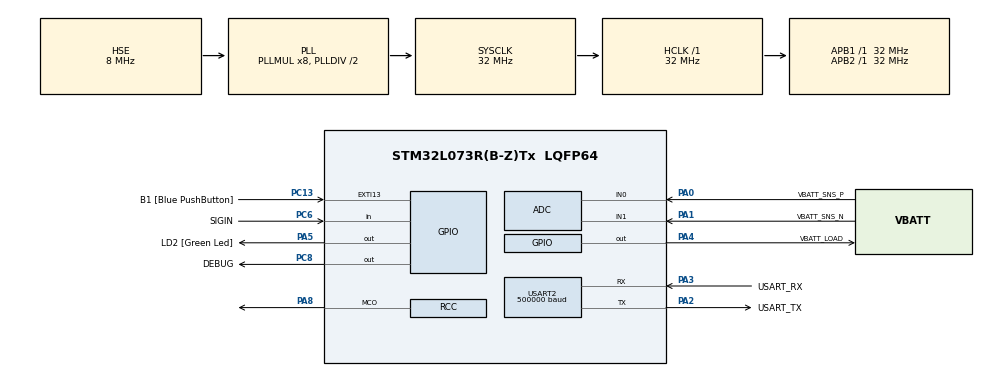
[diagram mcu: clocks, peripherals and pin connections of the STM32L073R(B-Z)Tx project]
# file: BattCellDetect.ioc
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ADC.ContinuousConvMode=DISABLE
ADC.DiscontinuousConvMode=ENABLE
ADC.EOCSelection=ADC_EOC_SINGLE_CONV
ADC.SamplingTime=ADC_SAMPLETIME_3CYCLES_5
Mcu.Family=STM32L0
Mcu.Name=STM32L073R(B-Z)Tx
Mcu.Package=LQFP64
PA0.GPIO_Label=VBATT_SNS_P
PA0.Mode=IN0
PA0.Signal=ADC_IN0
PA1.GPIO_Label=VBATT_SNS_N
PA1.Mode=IN1
PA1.Signal=ADC_IN1
PA13.GPIO_Label=TMS
PA13.Mode=Serial_Wire
PA13.Signal=SYS_SWDIO
PA14.GPIO_Label=TCK
PA14.Mode=Serial_Wire
PA14.Signal=SYS_SWCLK
PA2.GPIO_Label=USART_TX
PA2.Mode=Asynchronous
PA2.Signal=USART2_TX
PA3.GPIO_Label=USART_RX
PA3.Mode=Asynchronous
PA3.Signal=USART2_RX
PA4.GPIO_Label=VBATT_LOAD
PA4.Signal=GPIO_Output
PA5.GPIO_Label=LD2 [Green Led]
PA5.Signal=GPIO_Output
PA8.GPIO_Speed=GPIO_SPEED_FREQ_VERY_HIGH
PA8.Mode=Clock-out
PA8.Signal=RCC_MCO
PC13.GPIO_Label=B1 [Blue PushButton]
PC13.GPIO_ModeDefaultEXTI=GPIO_MODE_IT_FALLING
PC13.Signal=GPXTI13
PC14-OSC32_IN.Signal=RCC_OSC32_IN
PC15-OSC32_OUT.Signal=RCC_OSC32_OUT
PC6.GPIO_Label=SIGIN
PC6.Signal=GPIO_Input
PC8.GPIO_Label=DEBUG
PC8.Signal=GPIO_Output
PH0-OSC_IN.GPIO_Label=MCO
PH0-OSC_IN.Mode=HSE-External-Clock-Source
PH0-OSC_IN.Signal=RCC_OSC_IN
ProjectManager.HeapSize=0x200
ProjectManager.StackSize=0x400
ProjectManager.TargetToolchain=STM32CubeIDE
RCC.ADCFreq_Value=16000000
RCC.AHBFreq_Value=32000000
RCC.APB1Freq_Value=32000000
RCC.APB1TimFreq_Value=32000000
RCC.APB2Freq_Value=32000000
RCC.APB2TimFreq_Value=32000000
RCC.HCLKFreq_Value=32000000
RCC.HSE_VALUE=8000000
RCC.HSI16_VALUE=16000000
RCC.HSI48_VALUE=48000000
RCC.HSI_VALUE=16000000
RCC.LSE_VALUE=32768
RCC.MSI_VALUE=2097000
RCC.PLLMUL=RCC_PLLMUL_8
RCC.PLLSourceVirtual=RCC_PLLSOURCE_HSE
RCC.RCC_MCODiv=RCC_MCODIV_16
RCC.SYSCLKFreq_VALUE=32000000
RCC.SYSCLKSource=RCC_SYSCLKSOURCE_PLLCLK
RCC.VCOOutputFreq_Value=64000000
TIM21.AutoReloadPreload=TIM_AUTORELOAD_PRELOAD_ENABLE
TIM21.Channel-Output\ Compare1\ No\ Output=TIM_CHANNEL_1
TIM21.Prescaler=512
USART2.BaudRate=500000
USART2.VirtualMode-Asynchronous=VM_ASYNC
VP_TIM21_VS_ClockSourceINT.Mode=Internal
VP_TIM21_VS_no_output1.Mode=Output Compare1 No Output
board=NUCLEO-L073RZ

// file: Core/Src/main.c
/* USER CODE BEGIN Header */
/**
  ******************************************************************************
  * @file           : main.c
  * @brief          : Main program body
  ******************************************************************************
  * @attention
  *
  * Copyright (c) 2023 STMicroelectronics.
  * All rights reserved.
  *
  * This software is licensed under terms that can be found in the LICENSE file
  * in the root directory of this software component.
  * If no LICENSE file comes with this software, it is provided AS-IS.
  *
  ******************************************************************************
  */
/* USER CODE END Header */
#include "main.h"

/* USER CODE BEGIN Includes */
#include "myos.h"
#include "leds.h"
#include "buttons.h"
#include "debug.h"
#include "string.h"

/* USER CODE END Includes */

/* USER CODE BEGIN PM */

#if DEBUG_MAIN
#define DBG(...) DBG_FUNC(__VA_ARGS__)
#else
#define DBG(...)
#endif

/* USER CODE END PM */

ADC_HandleTypeDef hadc;

TIM_HandleTypeDef htim21;

UART_HandleTypeDef huart2;

void SystemClock_Config(void);
static void MX_GPIO_Init(void);
static void MX_USART2_UART_Init(void);
static void MX_ADC_Init(void);
static void MX_TIM21_Init(void);
/* USER CODE BEGIN PFP */
/* USER CODE BEGIN PFP */
int __io_putchar(int ch);
/* USER CODE END PFP */

/* USER CODE BEGIN 0 */

PROCESS(test,test);
PROCESS_THREAD(test)
{
   PROCESS_BEGIN();

   PROCESS_END();
}

/* USER CODE END 0 */

int main(void)
{

  /* MCU Configuration--------------------------------------------------------*/

  /* Reset of all peripherals, Initializes the Flash interface and the Systick. */
  HAL_Init();

  /* Configure the system clock */
  SystemClock_Config();

  /* Initialize all configured peripherals */
  MX_GPIO_Init();
  MX_USART2_UART_Init();
  MX_ADC_Init();
  MX_TIM21_Init();
  /* USER CODE BEGIN 2 */

  /* Perform an ADC automatic self-calibration */
  HAL_ADCEx_Calibration_Start(&hadc,ADC_SINGLE_ENDED);

  myos_init();
  leds_init();
  buttons_init();

  process_start(&test,NULL);

  /* USER CODE END 2 */

  /* Infinite loop */
  /* USER CODE BEGIN WHILE */
  while (1)
  {
     process_run();

    /* USER CODE END WHILE */

  }
}

void SystemClock_Config(void)
{
  RCC_OscInitTypeDef RCC_OscInitStruct = {0};
  RCC_ClkInitTypeDef RCC_ClkInitStruct = {0};
  RCC_PeriphCLKInitTypeDef PeriphClkInit = {0};

  /** Configure the main internal regulator output voltage
  */
  __HAL_PWR_VOLTAGESCALING_CONFIG(PWR_REGULATOR_VOLTAGE_SCALE1);

  /** Initializes the RCC Oscillators according to the specified parameters
  * in the RCC_OscInitTypeDef structure.
  */
  RCC_OscInitStruct.OscillatorType = RCC_OSCILLATORTYPE_HSE;
  RCC_OscInitStruct.HSEState = RCC_HSE_BYPASS;
  RCC_OscInitStruct.PLL.PLLState = RCC_PLL_ON;
  RCC_OscInitStruct.PLL.PLLSource = RCC_PLLSOURCE_HSE;
  RCC_OscInitStruct.PLL.PLLMUL = RCC_PLLMUL_8;
  RCC_OscInitStruct.PLL.PLLDIV = RCC_PLLDIV_2;
  if (HAL_RCC_OscConfig(&RCC_OscInitStruct) != HAL_OK)
  {
    Error_Handler();
  }

  /** Initializes the CPU, AHB and APB buses clocks
  */
  RCC_ClkInitStruct.ClockType = RCC_CLOCKTYPE_HCLK|RCC_CLOCKTYPE_SYSCLK
                              |RCC_CLOCKTYPE_PCLK1|RCC_CLOCKTYPE_PCLK2;
  RCC_ClkInitStruct.SYSCLKSource = RCC_SYSCLKSOURCE_PLLCLK;
  RCC_ClkInitStruct.AHBCLKDivider = RCC_SYSCLK_DIV1;
  RCC_ClkInitStruct.APB1CLKDivider = RCC_HCLK_DIV1;
  RCC_ClkInitStruct.APB2CLKDivider = RCC_HCLK_DIV1;

  if (HAL_RCC_ClockConfig(&RCC_ClkInitStruct, FLASH_LATENCY_1) != HAL_OK)
  {
    Error_Handler();
  }
  PeriphClkInit.PeriphClockSelection = RCC_PERIPHCLK_USART2;
  PeriphClkInit.Usart2ClockSelection = RCC_USART2CLKSOURCE_PCLK1;
  if (HAL_RCCEx_PeriphCLKConfig(&PeriphClkInit) != HAL_OK)
  {
    Error_Handler();
  }
  HAL_RCC_MCOConfig(RCC_MCO1, RCC_MCO1SOURCE_SYSCLK, RCC_MCODIV_16);
}

static void MX_ADC_Init(void)
{

  ADC_ChannelConfTypeDef sConfig = {0};

  /** Configure the global features of the ADC (Clock, Resolution, Data Alignment and number of conversion)
  */
  hadc.Instance = ADC1;
  hadc.Init.OversamplingMode = DISABLE;
  hadc.Init.ClockPrescaler = ADC_CLOCK_SYNC_PCLK_DIV2;
  hadc.Init.Resolution = ADC_RESOLUTION_12B;
  hadc.Init.SamplingTime = ADC_SAMPLETIME_3CYCLES_5;
  hadc.Init.ScanConvMode = ADC_SCAN_DIRECTION_FORWARD;
  hadc.Init.DataAlign = ADC_DATAALIGN_RIGHT;
  hadc.Init.ContinuousConvMode = DISABLE;
  hadc.Init.DiscontinuousConvMode = ENABLE;
  hadc.Init.ExternalTrigConvEdge = ADC_EXTERNALTRIGCONVEDGE_NONE;
  hadc.Init.ExternalTrigConv = ADC_SOFTWARE_START;
  hadc.Init.DMAContinuousRequests = DISABLE;
  hadc.Init.EOCSelection = ADC_EOC_SINGLE_CONV;
  hadc.Init.Overrun = ADC_OVR_DATA_PRESERVED;
  hadc.Init.LowPowerAutoWait = DISABLE;
  hadc.Init.LowPowerFrequencyMode = DISABLE;
  hadc.Init.LowPowerAutoPowerOff = DISABLE;
  if (HAL_ADC_Init(&hadc) != HAL_OK)
  {
    Error_Handler();
  }

  /** Configure for the selected ADC regular channel to be converted.
  */
  sConfig.Channel = ADC_CHANNEL_0;
  sConfig.Rank = ADC_RANK_CHANNEL_NUMBER;
  if (HAL_ADC_ConfigChannel(&hadc, &sConfig) != HAL_OK)
  {
    Error_Handler();
  }

  /** Configure for the selected ADC regular channel to be converted.
  */
  sConfig.Channel = ADC_CHANNEL_1;
  if (HAL_ADC_ConfigChannel(&hadc, &sConfig) != HAL_OK)
  {
    Error_Handler();
  }

}

static void MX_TIM21_Init(void)
{

  TIM_ClockConfigTypeDef sClockSourceConfig = {0};
  TIM_MasterConfigTypeDef sMasterConfig = {0};
  TIM_OC_InitTypeDef sConfigOC = {0};

  htim21.Instance = TIM21;
  htim21.Init.Prescaler = 512;
  htim21.Init.CounterMode = TIM_COUNTERMODE_UP;
  htim21.Init.Period = 65535;
  htim21.Init.ClockDivision = TIM_CLOCKDIVISION_DIV1;
  htim21.Init.AutoReloadPreload = TIM_AUTORELOAD_PRELOAD_ENABLE;
  if (HAL_TIM_Base_Init(&htim21) != HAL_OK)
  {
    Error_Handler();
  }
  sClockSourceConfig.ClockSource = TIM_CLOCKSOURCE_INTERNAL;
  if (HAL_TIM_ConfigClockSource(&htim21, &sClockSourceConfig) != HAL_OK)
  {
    Error_Handler();
  }
  if (HAL_TIM_OC_Init(&htim21) != HAL_OK)
  {
    Error_Handler();
  }
  sMasterConfig.MasterOutputTrigger = TIM_TRGO_RESET;
  sMasterConfig.MasterSlaveMode = TIM_MASTERSLAVEMODE_DISABLE;
  if (HAL_TIMEx_MasterConfigSynchronization(&htim21, &sMasterConfig) != HAL_OK)
  {
    Error_Handler();
  }
  sConfigOC.OCMode = TIM_OCMODE_TIMING;
  sConfigOC.Pulse = 0;
  sConfigOC.OCPolarity = TIM_OCPOLARITY_HIGH;
  sConfigOC.OCFastMode = TIM_OCFAST_DISABLE;
  if (HAL_TIM_OC_ConfigChannel(&htim21, &sConfigOC, TIM_CHANNEL_1) != HAL_OK)
  {
    Error_Handler();
  }

}

static void MX_USART2_UART_Init(void)
{

  huart2.Instance = USART2;
  huart2.Init.BaudRate = 500000;
  huart2.Init.WordLength = UART_WORDLENGTH_8B;
  huart2.Init.StopBits = UART_STOPBITS_1;
  huart2.Init.Parity = UART_PARITY_NONE;
  huart2.Init.Mode = UART_MODE_TX_RX;
  huart2.Init.HwFlowCtl = UART_HWCONTROL_NONE;
  huart2.Init.OverSampling = UART_OVERSAMPLING_16;
  huart2.Init.OneBitSampling = UART_ONE_BIT_SAMPLE_DISABLE;
  huart2.AdvancedInit.AdvFeatureInit = UART_ADVFEATURE_NO_INIT;
  if (HAL_UART_Init(&huart2) != HAL_OK)
  {
    Error_Handler();
  }

}

static void MX_GPIO_Init(void)
{
  GPIO_InitTypeDef GPIO_InitStruct = {0};

  /* GPIO Ports Clock Enable */
  __HAL_RCC_GPIOC_CLK_ENABLE();
  __HAL_RCC_GPIOH_CLK_ENABLE();
  __HAL_RCC_GPIOA_CLK_ENABLE();

  /*Configure GPIO pin Output Level */
  HAL_GPIO_WritePin(GPIOA, VBATT_LOAD_Pin|LD2_Pin, GPIO_PIN_RESET);

  /*Configure GPIO pin Output Level */
  HAL_GPIO_WritePin(DEBUG_GPIO_Port, DEBUG_Pin, GPIO_PIN_RESET);

  /*Configure GPIO pin : B1_Pin */
  GPIO_InitStruct.Pin = B1_Pin;
  GPIO_InitStruct.Mode = GPIO_MODE_IT_FALLING;
  GPIO_InitStruct.Pull = GPIO_NOPULL;
  HAL_GPIO_Init(B1_GPIO_Port, &GPIO_InitStruct);

  /*Configure GPIO pins : VBATT_LOAD_Pin LD2_Pin */
  GPIO_InitStruct.Pin = VBATT_LOAD_Pin|LD2_Pin;
  GPIO_InitStruct.Mode = GPIO_MODE_OUTPUT_PP;
  GPIO_InitStruct.Pull = GPIO_NOPULL;
  GPIO_InitStruct.Speed = GPIO_SPEED_FREQ_LOW;
  HAL_GPIO_Init(GPIOA, &GPIO_InitStruct);

  /*Configure GPIO pin : SIGIN_Pin */
  GPIO_InitStruct.Pin = SIGIN_Pin;
  GPIO_InitStruct.Mode = GPIO_MODE_INPUT;
  GPIO_InitStruct.Pull = GPIO_NOPULL;
  HAL_GPIO_Init(SIGIN_GPIO_Port, &GPIO_InitStruct);

  /*Configure GPIO pin : DEBUG_Pin */
  GPIO_InitStruct.Pin = DEBUG_Pin;
  GPIO_InitStruct.Mode = GPIO_MODE_OUTPUT_PP;
  GPIO_InitStruct.Pull = GPIO_NOPULL;
  GPIO_InitStruct.Speed = GPIO_SPEED_FREQ_LOW;
  HAL_GPIO_Init(DEBUG_GPIO_Port, &GPIO_InitStruct);

  /*Configure GPIO pin : PA8 */
  GPIO_InitStruct.Pin = GPIO_PIN_8;
  GPIO_InitStruct.Mode = GPIO_MODE_AF_PP;
  GPIO_InitStruct.Pull = GPIO_NOPULL;
  GPIO_InitStruct.Speed = GPIO_SPEED_FREQ_VERY_HIGH;
  GPIO_InitStruct.Alternate = GPIO_AF0_MCO;
  HAL_GPIO_Init(GPIOA, &GPIO_InitStruct);

}

/* USER CODE BEGIN 4 */

int __io_putchar(int ch)
{
  HAL_UART_Transmit(&huart2, (uint8_t*)&ch, 1, HAL_MAX_DELAY);
  return ch;
}

/* USER CODE END 4 */

void Error_Handler(void)
{
  __disable_irq();
  while (1)
  {
  }
}
